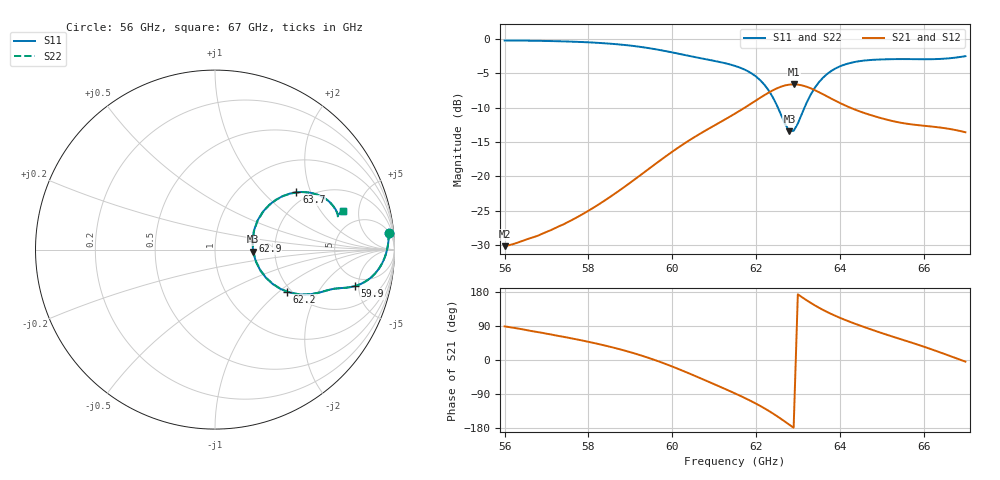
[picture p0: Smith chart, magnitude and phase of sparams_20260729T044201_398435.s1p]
! Touchstone file exported from HFSS 2023.2.0
!  File:  C:/Users/Gongzhui/Documents/Projects/hfss-mcp/benchmark/cases/siw_feed_l1/runs/run_probe_main/app_data/workspace/runs/run_probe_main/work/siw_feed_l1_sandbox.aedt
!  Generated:  12:42:01 %x4E0B%x5348  7%x6708 29, 2026
!  Design:  SIW Feed Structure
!  Project:  siw_feed_l1_sandbox
!  Setup:  Setup1
!  Solution:  Sweep
! Variables:
!  Ty = 2.5mm
!  cd = 0.75mm
!  cx = 7.9mm
!  cy = 7.9mm
!  fl = 0.315mm
!  fw = 1.05mm
!  fx = 3.255mm
!  fy = 2.0646mm
!  gap = 0.18mm
!  gx = 15.65mm
!  gy = 13mm
!  hsub = 0.787mm
!  lWG = 3.875mm
!  offset = 0.04mm
!  pl = 1.4mm
!  pw = 0.6mm
!  t1 = 0.336mm
!  t2 = 0.2mm
!  vd = 0.3mm
!  vs = 0.58mm
!  wWG = 4.4292mm
# GHz S MA R 50.000000
! Terminal data exported
! Port[1] = 1
! Port[2] = 2
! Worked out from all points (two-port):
!   111 points, 56 GHz to 67 GHz, reference 50 ohm
!   highest |S21| = -6.63 dB at 62.9 GHz (marker M1); lowest = -30.2 dB at 56 GHz (marker M2)
!   |S21| within 3 dB of the highest: 61.83 GHz to 64.1 GHz (2.271 GHz wide, 3.61 % of centre)
!   lowest |S11| = -13.4 dB at 62.8 GHz (marker M3), VSWR 1.54, Z = 76.9 - j1.81 ohm
!   |S11| at or under -10 dB: 62.52 GHz to 63.16 GHz (638 MHz wide, 1.02 % of centre)
!   |S22| runs from -13.4 to -0.2 dB; largest |S21 - S12| = 5.9e-14
!   S11 on the Smith chart (normalised r, x): 56 GHz: 6, +20; 59.9 GHz: 3.92, -4.55; 62.2 GHz: 1.89, -1.13; 62.9 GHz: 1.52, +0.15; 63.7 GHz: 1.73, +1.59; 67 GHz: 3.46, +3.38
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56  0.9719 5.4  0.031 88.7  0.031 88.7  0.9719 5.4
56.8  0.9659 2.3  0.03701 73.5  0.03701 73.5  0.9658 2.3
57.9  0.945 -2.9  0.05384 50.3  0.05384 50.3  0.9449 -2.9
59  0.8917 -9.4  0.08983 20.6  0.08983 20.6  0.8917 -9.4
59.7  0.8286 -13.6  0.1294 -4.6  0.1294 -4.6  0.8288 -13.5
59.9  0.8069 -14.6  0.1433 -12.9  0.1433 -12.9  0.807 -14.5
60.7  0.7199 -17.4  0.2067 -49.3  0.2067 -49.3  0.7198 -17.4
61.1  0.6809 -19.1  0.2427 -68.5  0.2427 -68.5  0.6806 -19.1
61.5  0.6346 -22.0  0.2855 -88.2  0.2855 -88.2  0.6343 -21.9
61.9  0.559 -26.6  0.3399 -109.3  0.3399 -109.3  0.5588 -26.5
62.2  0.4638 -30.3  0.3885 -127.3  0.3885 -127.3  0.4637 -30.2
62.5  0.328 -29.2  0.4358 -148.0  0.4358 -148.0  0.3284 -29.0
62.8  0.2127 -3.0  0.4641 -171.0  0.4641 -171.0  0.2139 -2.9
62.9  0.214 13.0  0.4662 -178.9  0.4662 -178.9  0.2153 12.9
63.1  0.2861 34.3  0.458 165.7  0.458 165.7  0.287 34.1
63.4  0.4376 39.3  0.4237 144.6  0.4237 144.6  0.438 39.2
63.7  0.5546 35.1  0.3806 126.7  0.3806 126.7  0.5547 35.0
64  0.6289 30.0  0.3417 111.6  0.3417 111.6  0.6289 29.9
64.4  0.6816 24.1  0.3024 94.3  0.3024 94.3  0.6815 24.1
65.2  0.71 17.4  0.2546 63.9  0.2546 63.9  0.7096 17.3
66.2  0.7102 15.3  0.2298 27.8  0.2298 27.8  0.7092 15.3
67  0.7469 16.8  0.2089 -4.2  0.2089 -4.2  0.7459 16.8
